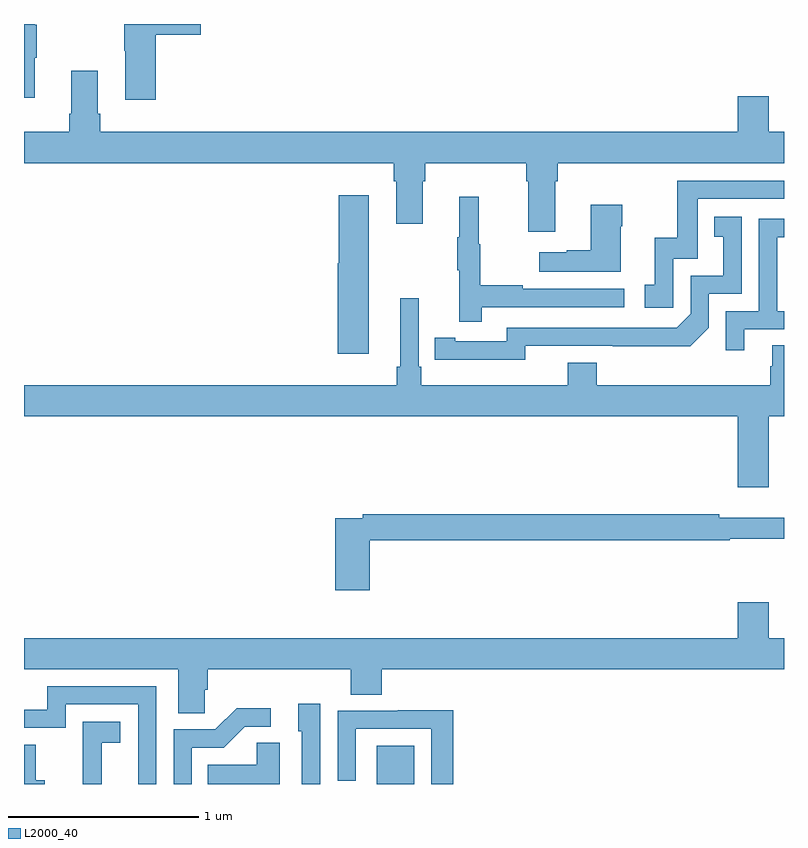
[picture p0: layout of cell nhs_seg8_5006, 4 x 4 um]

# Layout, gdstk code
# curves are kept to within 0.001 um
import gdstk
lib = gdstk.Library(unit=1e-6, precision=1e-09)
def R(c, l, rs):  # rectangles x0, y0, x1, y1
    for r in rs: c.add(gdstk.rectangle(r[:2], r[2:], *l))
def P(c, l, *ps):  # polygons
    for p in ps: c.add(gdstk.Polygon(p, *l))
L2000_40 = (2000, 40)

nhs_seg8_5006 = lib.new_cell('nhs_seg8_5006')
R(nhs_seg8_5006, L2000_40, [(414.857,1111.9,415.054,1112.101)])
P(nhs_seg8_5006, L2000_40, [(413.057,1115.723),(413.068,1115.723),(413.068,1115.897),(413.057,1115.897),(413.057,1115.9),(413,1115.9),(413,1115.511),(413.057,1115.511)],
  [(413.693,1115.843),(413.929,1115.843),(413.929,1115.9),(413.527,1115.9),(413.527,1115.759),(413.534,1115.759),(413.534,1115.502),(413.693,1115.502)],
  [(415.795,1115.072),(415.808,1115.072),(415.808,1115.168),(417,1115.168),(417,1115.332),(416.92,1115.332),(416.92,1115.521),(416.756,1115.521),(416.756,1115.332),(413.402,1115.332),(413.402,1115.428),(413.389,1115.428),(413.389,1115.653),(413.249,1115.653),(413.249,1115.428),(413.237,1115.428),(413.237,1115.332),(413,1115.332),(413,1115.168),(414.947,1115.168),(414.947,1115.072),(414.959,1115.072),(414.959,1114.848),(415.099,1114.848),(415.099,1115.072),(415.112,1115.072),(415.112,1115.168),(415.643,1115.168),(415.643,1115.072),(415.655,1115.072),(415.655,1114.806),(415.795,1114.806)],
  [(416.418,1114.665),(416.547,1114.665),(416.547,1114.98),(417,1114.98),(417,1115.076),(416.439,1115.076),(416.439,1114.774),(416.321,1114.774),(416.321,1114.527),(416.268,1114.527),(416.268,1114.407),(416.418,1114.407)],
  [(414.814,1114.999),(414.656,1114.999),(414.656,1114.641),(414.65,1114.641),(414.65,1114.164),(414.814,1114.164)],
  [(415.409,1114.41),(416.158,1114.41),(416.158,1114.506),(415.625,1114.506),(415.625,1114.526),(415.402,1114.526),(415.402,1114.74),(415.394,1114.74),(415.394,1114.99),(415.292,1114.99),(415.292,1114.777),(415.281,1114.777),(415.281,1114.603),(415.292,1114.603),(415.292,1114.332),(415.409,1114.332)],
  [(416.14,1114.835),(416.148,1114.835),(416.148,1114.948),(415.982,1114.948),(415.982,1114.709),(415.856,1114.709),(415.856,1114.699),(415.713,1114.699),(415.713,1114.595),(416.14,1114.595)],
  [(415.638,1114.206),(416.506,1114.205),(416.604,1114.302),(416.604,1114.479),(416.778,1114.479),(416.778,1114.885),(416.632,1114.885),(416.632,1114.779),(416.681,1114.779),(416.681,1114.575),(416.508,1114.575),(416.508,1114.374),(416.436,1114.302),(415.542,1114.302),(415.542,1114.23),(415.27,1114.23),(415.27,1114.25),(415.162,1114.25),(415.162,1114.134),(415.638,1114.133)],
  [(416.791,1114.293),(417,1114.293),(417,1114.389),(416.964,1114.389),(416.964,1114.778),(417,1114.778),(417,1114.875),(416.868,1114.875),(416.868,1114.389),(416.694,1114.389),(416.694,1114.182),(416.791,1114.182)],
  [(416.92,1113.836),(417,1113.836),(417,1114.208),(416.939,1114.208),(416.939,1114.098),(416.927,1114.098),(416.927,1114),(416.015,1114),(416.015,1114.117),(415.862,1114.117),(415.862,1114),(415.091,1114),(415.091,1114.096),(415.077,1114.096),(415.077,1114.456),(414.98,1114.456),(414.98,1114.096),(414.961,1114.096),(414.961,1114),(413,1114),(413,1113.836),(416.756,1113.836),(416.756,1113.462),(416.92,1113.462)],
  [(414.821,1113.184),(416.714,1113.184),(416.714,1113.192),(417,1113.192),(417,1113.301),(416.66,1113.301),(416.66,1113.32),(414.784,1113.32),(414.784,1113.3),(414.638,1113.3),(414.638,1112.919),(414.821,1112.919)],
  [(413.952,1112.395),(413.966,1112.395),(413.966,1112.504),(414.719,1112.504),(414.719,1112.371),(414.884,1112.371),(414.884,1112.504),(417,1112.504),(417,1112.668),(416.92,1112.668),(416.92,1112.857),(416.756,1112.857),(416.756,1112.668),(413,1112.668),(413,1112.504),(413.813,1112.504),(413.813,1112.272),(413.952,1112.272)],
  [(413.697,1112.415),(413.123,1112.415),(413.123,1112.292),(413,1112.292),(413,1112.196),(413.22,1112.196),(413.22,1112.319),(413.601,1112.319),(413.601,1111.9),(413.697,1111.9)],
  [(414.558,1112.323),(414.443,1112.323),(414.443,1112.178),(414.462,1112.178),(414.462,1111.9),(414.558,1111.9)],
  [(413.883,1112.091),(414.052,1112.091),(414.163,1112.202),(414.298,1112.202),(414.298,1112.3),(414.119,1112.3),(414.006,1112.187),(413.787,1112.187),(413.787,1111.9),(413.883,1111.9)],
  [(415.259,1112.288),(414.967,1112.288),(414.967,1112.286),(414.651,1112.286),(414.651,1111.917),(414.747,1111.917),(414.747,1112.19),(415.143,1112.19),(415.143,1111.9),(415.259,1111.9)],
  [(413.408,1112.117),(413.506,1112.117),(413.506,1112.227),(413.308,1112.227),(413.308,1112.021),(413.309,1112.021),(413.309,1111.9),(413.408,1111.9)],
  [(414.346,1112.117),(414.225,1112.117),(414.225,1112.002),(413.968,1112.002),(413.968,1111.9),(414.346,1111.9)],
  [(413.11,1111.921),(413.061,1111.921),(413.061,1112.106),(413,1112.106),(413,1111.9),(413.11,1111.9)])

lib.write_gds('nhs_seg8_5006.gds')
